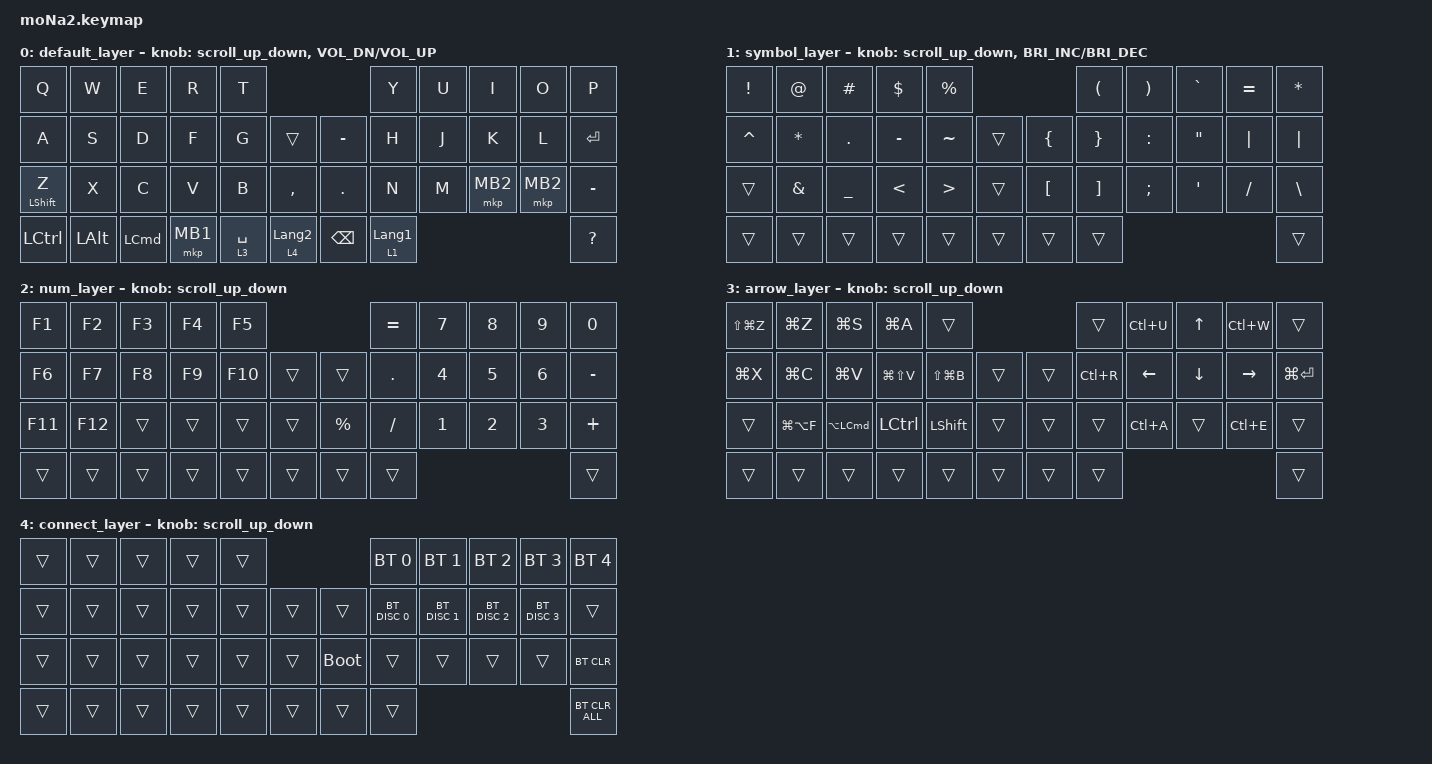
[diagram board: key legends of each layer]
#include <behaviors.dtsi>
#include <dt-bindings/zmk/bt.h>
#include <dt-bindings/zmk/keys.h>
#include <dt-bindings/zmk/pointing.h>

#define ZMK_POINTING_DEFAULT_SCRL_VAL 100
#define MOUSE 6

&mt {
    flavor = "balanced";
    quick-tap-ms = <0>;
};

/ {
    combos {
        compatible = "zmk,combos";

        esc {
            bindings = <&kp ESCAPE>;
            key-positions = <0 1>;
        };

        tabright {
            bindings = <&kp LC(TAB)>;
            key-positions = <12 13>;
        };

        tableft {
            bindings = <&kp LS(LC(TAB))>;
            key-positions = <12 11>;
        };

        exclamationmark {
            bindings = <&kp EXCLAMATION>;
            key-positions = <4 3>;
        };

        command {
            bindings = <&kp TAB>;
            key-positions = <24 25>;
        };

        screenshot {
            bindings = <&kp LS(LG(NUMBER_4))>;
            key-positions = <23 24>;
        };

        question {
            bindings = <&kp QUESTION>;
            key-positions = <8 7>;
        };

        tab {
            bindings = <&kp TAB>;
            key-positions = <19 18>;
        };
    };

    macros {
        to_layer_0: to_layer_0 {
            compatible = "zmk,behavior-macro-one-param";
            #binding-cells = <1>;
            bindings = <&to 0 &macro_param_1to1 &kp MACRO_PLACEHOLDER>;
            label = "TO_LAYER_0";
        };
    };

    behaviors {
        lt_to_layer_0: lt_to_layer_0 {
            compatible = "zmk,behavior-hold-tap";
            label = "LAYER_TAP_TO_0";
            bindings = <&mo>, <&to_layer_0>;

            #binding-cells = <2>;
            tapping-term-ms = <200>;
        };

        scroll_up_down: behavior_sensor_rotate_mouse_wheel_up_down {
            compatible = "zmk,behavior-sensor-rotate";
            #sensor-binding-cells = <0>;
            bindings = <&msc SCRL_UP>, <&msc SCRL_DOWN>;

            tap-ms = <20>;
        };
    };

    keymap {
        compatible = "zmk,keymap";

        default_layer {
            bindings = <
&kp Q             &kp W         &kp E             &kp R     &kp T                                           &kp Y             &kp U  &kp I     &kp O     &kp P
&kp A             &kp S         &kp D             &kp F     &kp G        &trans              &kp MINUS      &kp H             &kp J  &kp K     &kp L     &kp ENTER
&mt LEFT_SHIFT Z  &kp X         &kp C             &kp V     &kp B        &kp COMMA           &kp PERIOD     &kp N             &kp M  &mkp MB2  &mkp MB2  &kp MINUS
&kp LCTRL         &kp LEFT_ALT  &kp LEFT_COMMAND  &mkp MB1  &lt 3 SPACE  &lt 4 LANGUAGE_2    &kp BACKSPACE  &lt 1 LANGUAGE_1                             &kp QUESTION
            >;

            sensor-bindings =
                <&scroll_up_down>,
                <&inc_dec_kp C_VOL_DN C_VOL_UP>;
        };

        symbol_layer {
            bindings = <
&kp EXCLAMATION  &kp AT_SIGN    &kp HASH        &kp DOLLAR     &kp PERCENT                                   &kp LEFT_PARENTHESIS  &kp RIGHT_PARENTHESIS  &kp GRAVE          &kp EQUAL  &kp ASTERISK
&kp CARET        &kp ASTERISK   &kp PERIOD      &kp MINUS      &kp TILDE         &trans    &kp LEFT_BRACE    &kp RIGHT_BRACE       &kp COLON              &kp DOUBLE_QUOTES  &kp PIPE   &kp PIPE
&trans           &kp AMPERSAND  &kp UNDERSCORE  &kp LESS_THAN  &kp GREATER_THAN  &trans    &kp LEFT_BRACKET  &kp RIGHT_BRACKET     &kp SEMICOLON          &kp SINGLE_QUOTE   &kp SLASH  &kp BACKSLASH
&trans           &trans         &trans          &trans         &trans            &trans    &trans            &trans                                                                     &trans
            >;

            sensor-bindings =
                <&scroll_up_down>,
                <&inc_dec_kp C_BRIGHTNESS_INC C_BRIGHTNESS_DEC>;
        };

        num_layer {
            bindings = <
&kp F1   &kp F2   &kp F3  &kp F4  &kp F5                          &kp EQUAL   &kp NUMBER_7  &kp NUMBER_8  &kp NUMBER_9  &kp NUMBER_0
&kp F6   &kp F7   &kp F8  &kp F9  &kp F10  &trans    &trans       &kp PERIOD  &kp NUMBER_4  &kp NUMBER_5  &kp NUMBER_6  &kp MINUS
&kp F11  &kp F12  &trans  &trans  &trans   &trans    &kp PERCENT  &kp SLASH   &kp NUMBER_1  &kp NUMBER_2  &kp NUMBER_3  &kp PLUS
&trans   &trans   &trans  &trans  &trans   &trans    &trans       &trans                                                &trans
            >;

            sensor-bindings = <&scroll_up_down>;
        };

        arrow_layer {
            bindings = <
&kp LS(LG(Z))  &kp LG(Z)      &kp LG(S)             &kp LG(A)         &trans                            &trans     &kp LC(U)       &kp UP_ARROW    &kp LC(W)        &trans
&kp LG(X)      &kp LG(C)      &kp LG(V)             &kp LG(LS(V))     &kp LS(LG(B))   &trans    &trans  &kp LC(R)  &kp LEFT_ARROW  &kp DOWN_ARROW  &kp RIGHT_ARROW  &kp LG(ENTER)
&trans         &kp LG(LA(F))  &kp LA(LEFT_COMMAND)  &kp LEFT_CONTROL  &kp LEFT_SHIFT  &trans    &trans  &trans     &kp LC(A)       &trans          &kp LC(E)        &trans
&trans         &trans         &trans                &trans            &trans          &trans    &trans  &trans                                                      &trans
            >;

            sensor-bindings = <&scroll_up_down>;
        };

        connect_layer {
            bindings = <
&trans  &trans  &trans  &trans  &trans                         &bt BT_SEL 0   &bt BT_SEL 1   &bt BT_SEL 2   &bt BT_SEL 3   &bt BT_SEL 4
&trans  &trans  &trans  &trans  &trans  &trans    &trans       &bt BT_DISC 0  &bt BT_DISC 1  &bt BT_DISC 2  &bt BT_DISC 3  &trans
&trans  &trans  &trans  &trans  &trans  &trans    &bootloader  &trans         &trans         &trans         &trans         &bt BT_CLR
&trans  &trans  &trans  &trans  &trans  &trans    &trans       &trans                                                      &bt BT_CLR_ALL
            >;

            sensor-bindings = <&scroll_up_down>;
        };
    };
};
